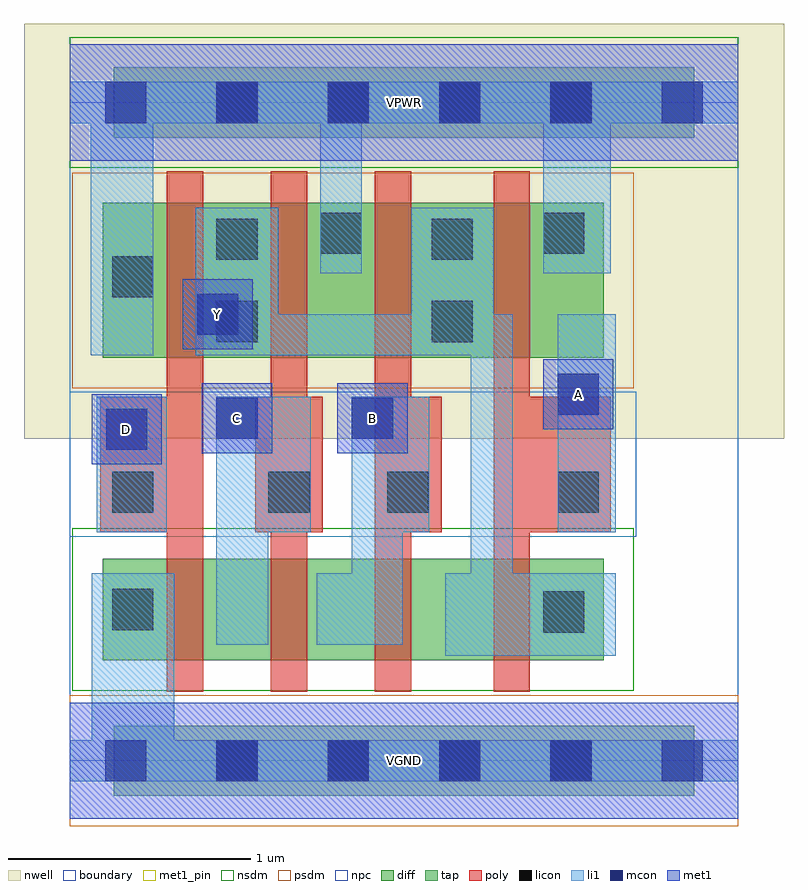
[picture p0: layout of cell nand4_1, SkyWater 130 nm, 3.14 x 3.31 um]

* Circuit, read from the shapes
.subckt nand4_1 A B C D VGND VPWR Y
XM1 n1 D VGND VGND sky130_fd_pr__nfet_01v8 w=0.42 l=0.15
XM2 n2 C n1 VGND sky130_fd_pr__nfet_01v8 w=0.42 l=0.15
XM3 n3 B n2 VGND sky130_fd_pr__nfet_01v8 w=0.42 l=0.15
XM4 Y A n3 VGND sky130_fd_pr__nfet_01v8 w=0.42 l=0.15
XM5 Y D VPWR VPWR sky130_fd_pr__pfet_01v8 w=0.64 l=0.15
XM6 VPWR C Y VPWR sky130_fd_pr__pfet_01v8 w=0.64 l=0.15
XM7 Y B VPWR VPWR sky130_fd_pr__pfet_01v8 w=0.64 l=0.15
XM8 VPWR A Y VPWR sky130_fd_pr__pfet_01v8 w=0.64 l=0.15
.ends

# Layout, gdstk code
import gdstk
lib = gdstk.Library(unit=1e-6, precision=1e-09)
def R(c, l, rs):  # rectangles x0, y0, x1, y1
    for r in rs: c.add(gdstk.rectangle(r[:2], r[2:], *l))
def A(c, l, x, y, w, h, nx, ny, dx, dy):  # array of equal rectangles
    R(c, l, [(x+i*dx, y+j*dy, x+i*dx+w, y+j*dy+h) for i in range(nx) for j in range(ny)])
nwell = (64, 20)
diff = (65, 20)
tap = (65, 44)
poly = (66, 20)
licon = (66, 44)
li1 = (67, 20)
mcon = (67, 44)
met1_pin = (68, 16)
met1 = (68, 20)
nsdm = (93, 44)
psdm = (94, 20)
npc = (95, 20)
boundary = (235, 4)

nand4_1 = lib.new_cell('nand4_1')
R(nand4_1, nwell, [(-0.19,1.33,2.95,3.045), (0,1.33,2.76,3.045)])
R(nand4_1, diff, [(0.135,0.415,2.205,0.835), (0.135,1.665,2.205,2.305)])
R(nand4_1, tap, [(0.18,-0.145,2.58,0.145), (0.18,2.575,2.58,2.865)])
A(nand4_1, poly, 0.4, 0.285, 0.15, 2.15, 3, 1, 0.43, 0)
R(nand4_1, poly, [(1.75,0.285,1.9,2.435), (0.125,0.945,0.55,1.505), (0.765,0.945,1.045,1.505), (1.26,0.945,1.535,1.505), (1.75,0.945,2.235,1.505)])
A(nand4_1, licon, 0.605, -0.085, 0.17, 0.17, 4, 2, 0.46, 2.72)
R(nand4_1, licon, [(1.955,0.53,2.125,0.7), (0.175,0.54,0.345,0.71), (0.175,1.025,0.345,1.195), (0.82,1.025,0.99,1.195), (1.31,1.025,1.48,1.195), (2.015,1.025,2.185,1.195), (0.605,1.73,0.775,1.9), (1.495,1.73,1.665,1.9), (0.175,1.915,0.345,2.085), (0.605,2.07,0.775,2.24), (1.495,2.07,1.665,2.24), (1.035,2.095,1.205,2.265), (1.955,2.095,2.125,2.265)])
R(nand4_1, li1, [(0,-0.085,2.76,0.085), (0.09,-0.085,0.43,0.775), (1.55,0.435,2.255,0.775), (1.655,0.435,1.83,1.845), (0.605,0.48,0.82,1.505), (1.02,0.48,1.375,0.775), (1.165,0.48,1.375,1.505), (0.11,0.945,0.4,1.505), (0.605,0.945,0.995,1.505), (1.165,0.945,1.485,1.505), (2.015,0.945,2.255,1.845), (0.085,1.675,0.345,2.805), (0.52,1.675,0.86,2.285), (0.52,1.675,1.83,1.845), (1.41,1.675,1.75,2.285), (1.035,2.015,1.205,2.805), (1.955,2.015,2.235,2.805), (0,2.635,2.76,2.805)])
A(nand4_1, mcon, 0.145, -0.085, 0.17, 0.17, 6, 2, 0.46, 2.72)
R(nand4_1, mcon, [(0.15,1.285,0.32,1.455), (0.605,1.33,0.775,1.5), (1.165,1.33,1.335,1.5), (2.015,1.43,2.185,1.6), (0.525,1.76,0.695,1.93)])
R(nand4_1, met1_pin, [(0,-0.24,2.76,0.24), (0.09,1.225,0.38,1.515), (0.545,1.27,0.835,1.56), (1.105,1.27,1.395,1.56), (1.955,1.37,2.245,1.66), (0.465,1.7,0.755,1.99), (0,2.48,2.76,2.96)])
R(nand4_1, met1, [(0,-0.24,2.76,0.24), (0.09,1.225,0.38,1.515), (0.545,1.27,0.835,1.56), (1.105,1.27,1.395,1.56), (1.955,1.37,2.245,1.66), (0.465,1.7,0.755,1.99), (0,2.48,2.76,2.96)])
R(nand4_1, nsdm, [(0.01,0.29,2.33,0.96), (0,2.45,2.76,2.99)])
R(nand4_1, psdm, [(0,-0.27,2.76,0.27), (0.01,1.54,2.33,2.43)])
R(nand4_1, npc, [(0,0.925,2.34,1.525)])
R(nand4_1, boundary, [(0,0,2.76,2.72)])
nand4_1.add(gdstk.Label('A', (2.1,1.515), layer=68, texttype=5))
nand4_1.add(gdstk.Label('B', (1.25,1.415), layer=68, texttype=5))
nand4_1.add(gdstk.Label('C', (0.69,1.415), layer=68, texttype=5))
nand4_1.add(gdstk.Label('D', (0.235,1.37), layer=68, texttype=5))
nand4_1.add(gdstk.Label('Y', (0.61,1.845), layer=68, texttype=5))
nand4_1.add(gdstk.Label('VPWR', (1.38,2.72), layer=68, texttype=5))
nand4_1.add(gdstk.Label('VGND', (1.38,0), layer=68, texttype=5))
nand4_1.add(gdstk.Label('A', (2.1,1.515), layer=68, texttype=16))
nand4_1.add(gdstk.Label('B', (1.25,1.415), layer=68, texttype=16))
nand4_1.add(gdstk.Label('C', (0.69,1.415), layer=68, texttype=16))
nand4_1.add(gdstk.Label('D', (0.235,1.37), layer=68, texttype=16))
nand4_1.add(gdstk.Label('Y', (0.61,1.845), layer=68, texttype=16))
nand4_1.add(gdstk.Label('VPWR', (1.38,2.72), layer=68, texttype=16))
nand4_1.add(gdstk.Label('VGND', (1.38,0), layer=68, texttype=16))

lib.write_gds('nand4_1.gds')
